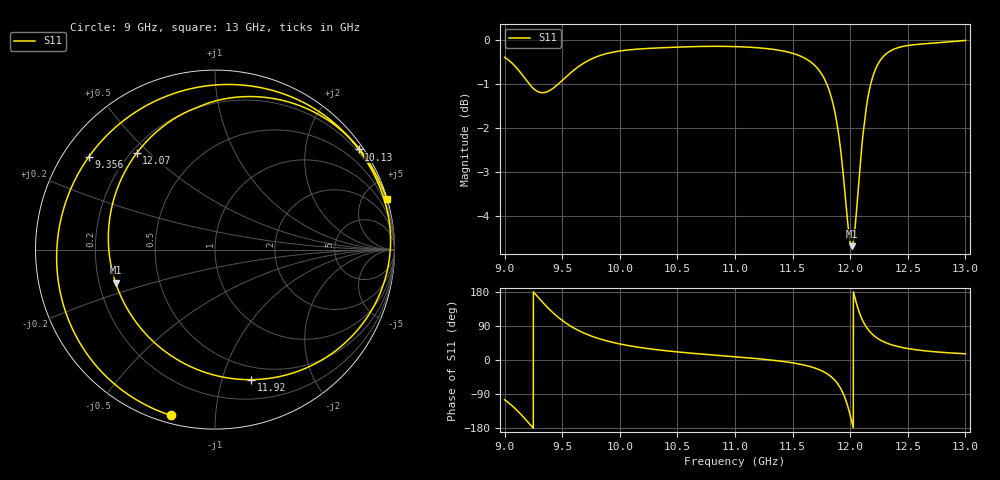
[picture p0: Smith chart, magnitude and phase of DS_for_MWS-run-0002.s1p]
! TOUCHSTONE file generated by CST DESIGN STUDIO
! Date and time: Wed Feb  5 13:19:30 2025
! Project name: C:\Work\MatlabApps\UnitCellOptimizationMatlab\CST\unitcell.cst
! Tree item: Tasks\Sweep1\SPara1\S-Parameters
! Header version: 2024
! Port assignment regex: !\s*Touchstone port\s*([0-9]+)\s*=\s*(CST MWS port|CST DES external port|CST DES block port)\s*(.+)\s* \(\"(.*)\"\)(\s*mode\s*([0-9]+))?.*
! Touchstone port assignment:
! Touchstone port 1 = CST DES external port 1 ("")
# GHz S MA R 50
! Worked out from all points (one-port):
!   4001 points, 9 GHz to 13 GHz, reference 50 ohm
!   lowest |S11| = -4.7 dB at 12.01 GHz (marker M1), VSWR 3.81, Z = 13.5 - j7.53 ohm
!   |S11| at or under -10 dB: nowhere
!   S11 on the Smith chart (normalised r, x): 9 GHz: 0.04, -0.77; 9.356 GHz: 0.08, +0.32; 10.13 GHz: 0.13, +3.18; 11.92 GHz: 0.37, -1.25; 12.07 GHz: 0.22, +0.46; 13 GHz: 0.03, +6.98
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9  0.9559 -104.8
9.097  0.9321 -129.8
9.2  0.8961 -162.9
9.274  0.8762 171.3
9.356  0.8725 143.9
9.426  0.8827 123.0
9.5  0.8999 104.4
9.598  0.9236 84.9
9.728  0.9481 66.1
10  0.9718 42.3
10.135  0.9761 34.9
10.5  0.9817 21.3
11  0.983 8.5
11.5  0.9658 -7.5
11.774  0.9047 -31.7
11.853  0.8446 -49.1
11.916  0.7525 -74.4
11.96  0.6591 -104.5
12  0.5899 -145.7
12.013  0.5839 -161.6
12.042  0.6125 163.0
12.075  0.692 129.1
12.105  0.7681 106.1
12.139  0.8371 87.6
12.24  0.9386 56.6
12.345  0.9713 41.5
12.5  0.9858 30.2
13  0.9989 16.3
